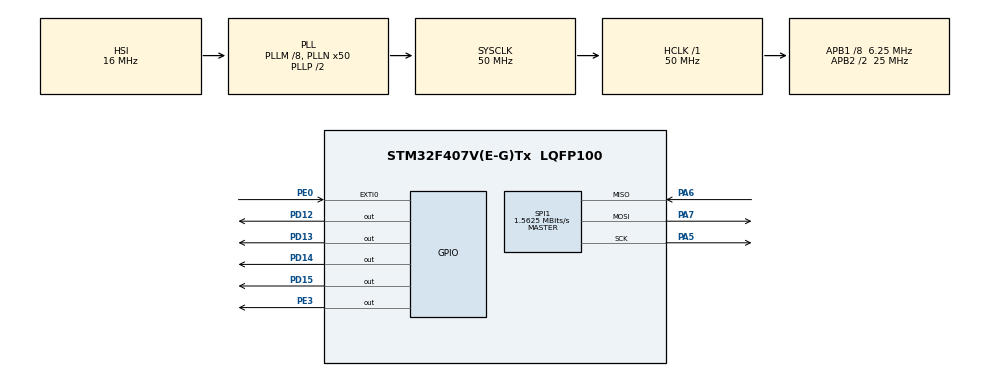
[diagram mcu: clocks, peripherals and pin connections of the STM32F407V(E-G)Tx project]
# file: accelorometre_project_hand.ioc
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Mcu.Family=STM32F4
Mcu.Name=STM32F407V(E-G)Tx
Mcu.Package=LQFP100
NVIC.EXTI0_IRQn=true\:0\:0\:false\:false\:true\:true\:true
NVIC.PriorityGroup=NVIC_PRIORITYGROUP_0
PA5.Mode=Full_Duplex_Master
PA5.Signal=SPI1_SCK
PA6.Mode=Full_Duplex_Master
PA6.Signal=SPI1_MISO
PA7.Mode=Full_Duplex_Master
PA7.Signal=SPI1_MOSI
PD12.Signal=GPIO_Output
PD13.Signal=GPIO_Output
PD14.Signal=GPIO_Output
PD15.Signal=GPIO_Output
PE0.Signal=GPXTI0
PE3.PinState=GPIO_PIN_SET
PE3.Signal=GPIO_Output
ProjectManager.HeapSize=0x200
ProjectManager.StackSize=0x400
ProjectManager.TargetToolchain=STM32CubeIDE
RCC.48MHZClocksFreq_Value=14285714.285714285
RCC.AHBFreq_Value=50000000
RCC.APB1CLKDivider=RCC_HCLK_DIV8
RCC.APB1Freq_Value=6250000
RCC.APB1TimFreq_Value=12500000
RCC.APB2CLKDivider=RCC_HCLK_DIV2
RCC.APB2Freq_Value=25000000
RCC.APB2TimFreq_Value=50000000
RCC.CortexFreq_Value=50000000
RCC.HCLKFreq_Value=50000000
RCC.HSE_VALUE=8000000
RCC.HSI_VALUE=16000000
RCC.PLLM=8
RCC.PLLN=50
RCC.PLLQ=7
RCC.SYSCLKFreq_VALUE=50000000
RCC.SYSCLKSource=RCC_SYSCLKSOURCE_PLLCLK
RCC.VCOOutputFreq_Value=100000000
SPI1.BaudRatePrescaler=SPI_BAUDRATEPRESCALER_16
SPI1.CalculateBaudRate=1.5625 MBits/s
SPI1.Direction=SPI_DIRECTION_2LINES
SPI1.Mode=SPI_MODE_MASTER
SPI1.VirtualType=VM_MASTER
board=STM32F407G-DISC1

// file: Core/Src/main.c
/* USER CODE BEGIN Header */
/**
  ******************************************************************************
  * @file           : main.c
  * @brief          : Main program body
  ******************************************************************************
  * @attention
  *
  * Copyright (c) 2024 STMicroelectronics.
  * All rights reserved.
  *
  * This software is licensed under terms that can be found in the LICENSE file
  * in the root directory of this software component.
  * If no LICENSE file comes with this software, it is provided AS-IS.
  *
  ******************************************************************************
  */
/* USER CODE END Header */
#include "main.h"

SPI_HandleTypeDef hspi1;

/* USER CODE BEGIN PV */
uint8_t buffer=0;
uint8_t g_data[1];
uint8_t dataX=0;
uint8_t dataY=0;
uint8_t dataZ=0;
/* USER CODE END PV */

void SystemClock_Config(void);
static void MX_GPIO_Init(void);
static void MX_SPI1_Init(void);

/* USER CODE BEGIN 0 */
void writre_acc(uint8_t adresse,uint8_t data)
{
	uint8_t l_adresse[2];
l_adresse[0]=adresse;
l_adresse[1]=data;
HAL_GPIO_WritePin(GPIOE, GPIO_PIN_3, 0);
HAL_SPI_Transmit(&hspi1, l_adresse, 2, 50);
HAL_GPIO_WritePin(GPIOE, GPIO_PIN_3, 1);
}
uint8_t read_acc(uint8_t adresse)
{
	uint8_t l_adresse[1];
	l_adresse[0]=adresse | 0x80;
	HAL_GPIO_WritePin(GPIOE, GPIO_PIN_3, 0);
	HAL_SPI_Transmit(&hspi1, l_adresse, 1, 50);
	HAL_SPI_Receive(&hspi1, g_data, 1, 50);
	HAL_GPIO_WritePin(GPIOE, GPIO_PIN_3, 1);
	return g_data[0];
}
/* USER CODE END 0 */

int main(void)
{

  /* MCU Configuration--------------------------------------------------------*/

  /* Reset of all peripherals, Initializes the Flash interface and the Systick. */
  HAL_Init();

  /* Configure the system clock */
  SystemClock_Config();

  /* Initialize all configured peripherals */
  MX_GPIO_Init();
  MX_SPI1_Init();
  /* USER CODE BEGIN 2 */
writre_acc(0x20,0x17);
buffer=read_acc(0x20);
HAL_Delay(2000);
writre_acc(0x23,0xC8);
buffer=read_acc(0x23);
  /* USER CODE END 2 */
HAL_GPIO_WritePin(GPIOD, GPIO_PIN_12, 0);
HAL_GPIO_WritePin(GPIOD, GPIO_PIN_13, 0);
HAL_GPIO_WritePin(GPIOD, GPIO_PIN_14, 0);
HAL_GPIO_WritePin(GPIOD, GPIO_PIN_15, 0);
  /* Infinite loop */
  while (1)
  {
	 if(dataX>240 )
	 {
		 HAL_GPIO_WritePin(GPIOD, GPIO_PIN_12, 1);
		 HAL_Delay(100);
	 }
	 else
	 {
		 HAL_GPIO_WritePin(GPIOD, GPIO_PIN_12, 0);
		 /* USER CODE BEGIN 3 */
	 }
	 if(dataY>2 && dataY<15 )
		 {
			 HAL_GPIO_WritePin(GPIOD, GPIO_PIN_13, 1);
			 HAL_Delay(100);
		 }
		 else
		 {
			 HAL_GPIO_WritePin(GPIOD, GPIO_PIN_13, 0);
			 /* USER CODE BEGIN 3 */
		 }
	 if(dataX <20 && dataX>0 )
		 {
			 HAL_GPIO_WritePin(GPIOD, GPIO_PIN_14, 1);
			 HAL_Delay(100);
		 }
		 else
		 {
			 HAL_GPIO_WritePin(GPIOD, GPIO_PIN_14, 0);
			 /* USER CODE BEGIN 3 */
		 }
	 if(dataY>220)
		 {
			 HAL_GPIO_WritePin(GPIOD, GPIO_PIN_15, 1);
			 HAL_Delay(100);
		 }
		 else
		 {
			 HAL_GPIO_WritePin(GPIOD, GPIO_PIN_15, 0);
			 /* USER CODE BEGIN 3 */
		 }
  }
  /* USER CODE END 3 */
}

void SystemClock_Config(void)
{
  RCC_OscInitTypeDef RCC_OscInitStruct = {0};
  RCC_ClkInitTypeDef RCC_ClkInitStruct = {0};

  /** Configure the main internal regulator output voltage
  */
  __HAL_RCC_PWR_CLK_ENABLE();
  __HAL_PWR_VOLTAGESCALING_CONFIG(PWR_REGULATOR_VOLTAGE_SCALE1);
  /** Initializes the RCC Oscillators according to the specified parameters
  * in the RCC_OscInitTypeDef structure.
  */
  RCC_OscInitStruct.OscillatorType = RCC_OSCILLATORTYPE_HSI;
  RCC_OscInitStruct.HSIState = RCC_HSI_ON;
  RCC_OscInitStruct.HSICalibrationValue = RCC_HSICALIBRATION_DEFAULT;
  RCC_OscInitStruct.PLL.PLLState = RCC_PLL_ON;
  RCC_OscInitStruct.PLL.PLLSource = RCC_PLLSOURCE_HSI;
  RCC_OscInitStruct.PLL.PLLM = 8;
  RCC_OscInitStruct.PLL.PLLN = 50;
  RCC_OscInitStruct.PLL.PLLP = RCC_PLLP_DIV2;
  RCC_OscInitStruct.PLL.PLLQ = 7;
  if (HAL_RCC_OscConfig(&RCC_OscInitStruct) != HAL_OK)
  {
    Error_Handler();
  }
  /** Initializes the CPU, AHB and APB buses clocks
  */
  RCC_ClkInitStruct.ClockType = RCC_CLOCKTYPE_HCLK|RCC_CLOCKTYPE_SYSCLK
                              |RCC_CLOCKTYPE_PCLK1|RCC_CLOCKTYPE_PCLK2;
  RCC_ClkInitStruct.SYSCLKSource = RCC_SYSCLKSOURCE_PLLCLK;
  RCC_ClkInitStruct.AHBCLKDivider = RCC_SYSCLK_DIV1;
  RCC_ClkInitStruct.APB1CLKDivider = RCC_HCLK_DIV8;
  RCC_ClkInitStruct.APB2CLKDivider = RCC_HCLK_DIV2;

  if (HAL_RCC_ClockConfig(&RCC_ClkInitStruct, FLASH_LATENCY_1) != HAL_OK)
  {
    Error_Handler();
  }
}

static void MX_SPI1_Init(void)
{

  /* SPI1 parameter configuration*/
  hspi1.Instance = SPI1;
  hspi1.Init.Mode = SPI_MODE_MASTER;
  hspi1.Init.Direction = SPI_DIRECTION_2LINES;
  hspi1.Init.DataSize = SPI_DATASIZE_8BIT;
  hspi1.Init.CLKPolarity = SPI_POLARITY_LOW;
  hspi1.Init.CLKPhase = SPI_PHASE_1EDGE;
  hspi1.Init.NSS = SPI_NSS_SOFT;
  hspi1.Init.BaudRatePrescaler = SPI_BAUDRATEPRESCALER_16;
  hspi1.Init.FirstBit = SPI_FIRSTBIT_MSB;
  hspi1.Init.TIMode = SPI_TIMODE_DISABLE;
  hspi1.Init.CRCCalculation = SPI_CRCCALCULATION_DISABLE;
  hspi1.Init.CRCPolynomial = 10;
  if (HAL_SPI_Init(&hspi1) != HAL_OK)
  {
    Error_Handler();
  }

}

static void MX_GPIO_Init(void)
{
  GPIO_InitTypeDef GPIO_InitStruct = {0};

  /* GPIO Ports Clock Enable */
  __HAL_RCC_GPIOE_CLK_ENABLE();
  __HAL_RCC_GPIOA_CLK_ENABLE();
  __HAL_RCC_GPIOD_CLK_ENABLE();

  /*Configure GPIO pin Output Level */
  HAL_GPIO_WritePin(GPIOE, GPIO_PIN_3, GPIO_PIN_SET);

  /*Configure GPIO pin Output Level */
  HAL_GPIO_WritePin(GPIOD, GPIO_PIN_12|GPIO_PIN_13|GPIO_PIN_14|GPIO_PIN_15, GPIO_PIN_RESET);

  /*Configure GPIO pin : PE3 */
  GPIO_InitStruct.Pin = GPIO_PIN_3;
  GPIO_InitStruct.Mode = GPIO_MODE_OUTPUT_PP;
  GPIO_InitStruct.Pull = GPIO_NOPULL;
  GPIO_InitStruct.Speed = GPIO_SPEED_FREQ_LOW;
  HAL_GPIO_Init(GPIOE, &GPIO_InitStruct);

  /*Configure GPIO pins : PD12 PD13 PD14 PD15 */
  GPIO_InitStruct.Pin = GPIO_PIN_12|GPIO_PIN_13|GPIO_PIN_14|GPIO_PIN_15;
  GPIO_InitStruct.Mode = GPIO_MODE_OUTPUT_PP;
  GPIO_InitStruct.Pull = GPIO_NOPULL;
  GPIO_InitStruct.Speed = GPIO_SPEED_FREQ_LOW;
  HAL_GPIO_Init(GPIOD, &GPIO_InitStruct);

  /*Configure GPIO pin : PE0 */
  GPIO_InitStruct.Pin = GPIO_PIN_0;
  GPIO_InitStruct.Mode = GPIO_MODE_IT_RISING;
  GPIO_InitStruct.Pull = GPIO_NOPULL;
  HAL_GPIO_Init(GPIOE, &GPIO_InitStruct);

  /* EXTI interrupt init*/
  HAL_NVIC_SetPriority(EXTI0_IRQn, 0, 0);
  HAL_NVIC_EnableIRQ(EXTI0_IRQn);

}

/* USER CODE BEGIN 4 */
void HAL_GPIO_EXTI_Callback(uint16_t GPIO_Pin)
{
 /* Prevent unused argument(s) compilation warning */
 UNUSED(GPIO_Pin);
 /* NOTE: This function Should not be modified, when the callback is needed,
          the HAL_GPIO_EXTI_Callback could be implemented in the user file
  */
 dataX=read_acc(0x29);
 dataY=read_acc(0x2B);
 dataZ=read_acc(0x2D);
}
/* USER CODE END 4 */

void Error_Handler(void)
{
  __disable_irq();
  while (1)
  {
  }
}
